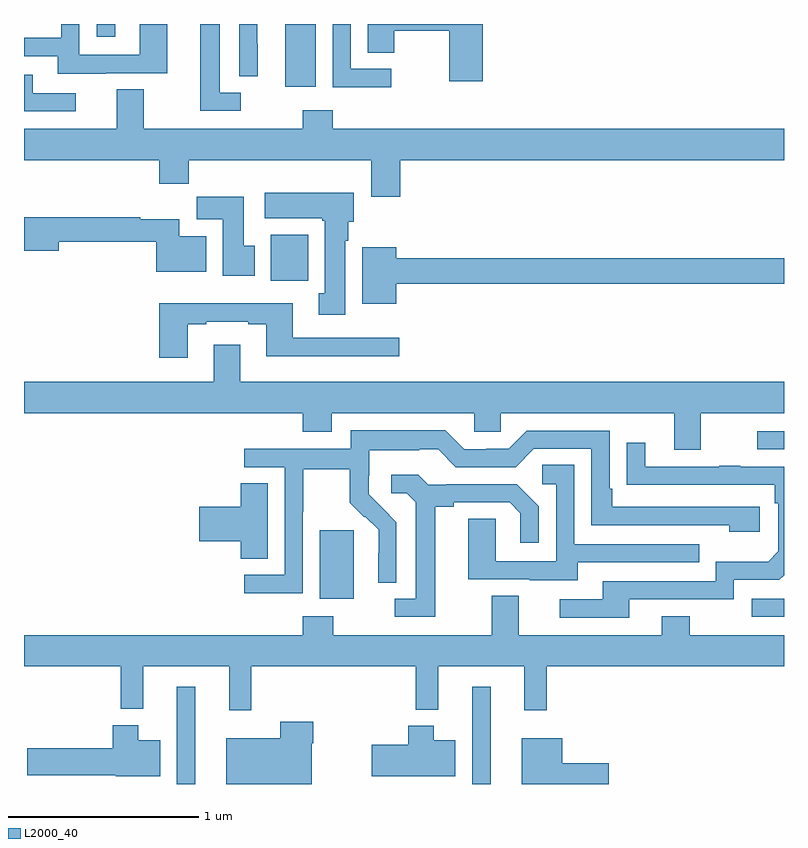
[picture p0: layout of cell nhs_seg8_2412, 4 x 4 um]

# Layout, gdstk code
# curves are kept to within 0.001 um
import gdstk
lib = gdstk.Library(unit=1e-6, precision=1e-09)
def R(c, l, rs):  # rectangles x0, y0, x1, y1
    for r in rs: c.add(gdstk.rectangle(r[:2], r[2:], *l))
def P(c, l, *ps):  # polygons
    for p in ps: c.add(gdstk.Polygon(p, *l))
L2000_40 = (2000, 40)

nhs_seg8_2412 = lib.new_cell('nhs_seg8_2412')
R(nhs_seg8_2412, L2000_40, [(263.805,1095.9,263.902,1096.411), (265.359,1095.9,265.456,1096.411), (266.829,1096.779,267,1096.875), (264.557,1096.874,264.736,1097.235), (266.859,1097.661,267,1097.757), (264.299,1098.548,264.496,1098.79), (264.374,1099.569,264.535,1099.9), (263.382,1099.833,263.479,1099.9)])
P(nhs_seg8_2412, L2000_40, [(265.415,1099.9),(264.809,1099.9),(264.809,1099.75),(264.948,1099.75),(264.948,1099.864),(265.237,1099.864),(265.237,1099.599),(265.415,1099.599)],
  [(263.431,1099.641),(263.755,1099.641),(263.755,1099.9),(263.61,1099.9),(263.61,1099.737),(263.292,1099.737),(263.292,1099.9),(263.196,1099.9),(263.196,1099.827),(263,1099.827),(263,1099.731),(263.177,1099.731),(263.177,1099.637),(263.431,1099.637)],
  [(264.934,1099.665),(264.72,1099.665),(264.72,1099.9),(264.624,1099.9),(264.624,1099.567),(264.934,1099.567)],
  [(264.229,1099.796),(264.227,1099.796),(264.227,1099.9),(264.132,1099.9),(264.132,1099.624),(264.229,1099.624)],
  [(264.142,1099.539),(264.031,1099.539),(264.031,1099.9),(263.927,1099.9),(263.927,1099.443),(264.142,1099.443)],
  [(263.272,1099.536),(263.047,1099.536),(263.047,1099.632),(263,1099.632),(263,1099.44),(263.272,1099.44)],
  [(264.626,1099.447),(264.466,1099.447),(264.466,1099.348),(263.629,1099.348),(263.629,1099.556),(263.489,1099.556),(263.489,1099.348),(263,1099.348),(263,1099.184),(263.711,1099.184),(263.711,1099.06),(263.867,1099.06),(263.867,1099.184),(264.827,1099.184),(264.827,1098.99),(264.98,1098.99),(264.98,1099.184),(267,1099.184),(267,1099.348),(264.626,1099.348)],
  [(264.691,1098.758),(264.706,1098.758),(264.706,1098.858),(264.736,1098.858),(264.736,1099.012),(264.267,1099.012),(264.267,1098.878),(264.571,1098.878),(264.571,1098.865),(264.584,1098.865),(264.584,1098.482),(264.551,1098.482),(264.551,1098.369),(264.691,1098.369)],
  [(264.214,1098.732),(264.157,1098.732),(264.157,1098.991),(263.908,1098.991),(263.908,1098.872),(264.047,1098.872),(264.047,1098.576),(264.214,1098.576)],
  [(263.959,1098.784),(263.818,1098.784),(263.818,1098.872),(263.612,1098.872),(263.612,1098.883),(263,1098.883),(263,1098.707),(263.182,1098.707),(263.182,1098.754),(263.696,1098.754),(263.696,1098.596),(263.959,1098.596)],
  [(264.958,1098.532),(267,1098.532),(267,1098.668),(264.958,1098.668),(264.958,1098.724),(264.779,1098.724),(264.779,1098.428),(264.958,1098.428)],
  [(263.863,1098.321),(263.959,1098.321),(263.959,1098.333),(264.179,1098.333),(264.179,1098.321),(264.275,1098.321),(264.275,1098.152),(264.976,1098.152),(264.976,1098.249),(264.415,1098.249),(264.415,1098.43),(263.711,1098.43),(263.711,1098.144),(263.863,1098.144)],
  [(264.139,1098.211),(263.999,1098.211),(263.999,1098.016),(263,1098.016),(263,1097.852),(264.467,1097.852),(264.467,1097.753),(264.619,1097.753),(264.619,1097.852),(265.371,1097.852),(265.371,1097.754),(265.509,1097.754),(265.509,1097.852),(266.423,1097.852),(266.423,1097.658),(266.563,1097.658),(266.563,1097.852),(267,1097.852),(267,1098.016),(264.139,1098.016)],
  [(264.468,1097.332),(264.471,1097.332),(264.471,1097.556),(264.715,1097.556),(264.715,1097.381),(264.792,1097.304),(264.795,1097.307),(264.866,1097.237),(264.866,1097.114),(264.864,1097.114),(264.864,1096.96),(264.96,1096.96),(264.96,1097.278),(264.814,1097.426),(264.814,1097.523),(264.816,1097.523),(264.816,1097.657),(265.079,1097.657),(265.079,1097.661),(265.179,1097.661),(265.272,1097.568),(265.587,1097.568),(265.683,1097.664),(265.986,1097.664),(265.986,1097.262),(266.711,1097.262),(266.711,1097.228),(266.872,1097.228),(266.872,1097.358),(266.095,1097.358),(266.095,1097.455),(266.082,1097.455),(266.082,1097.76),(265.647,1097.76),(265.551,1097.664),(265.433,1097.664),(265.433,1097.661),(265.317,1097.661),(265.217,1097.761),(264.72,1097.761),(264.72,1097.664),(264.159,1097.664),(264.159,1097.568),(264.372,1097.568),(264.372,1097.001),(264.159,1097.001),(264.159,1096.903),(264.468,1096.903)],
  [(266.185,1096.872),(266.736,1096.872),(266.736,1096.974),(266.976,1096.974),(267,1096.998),(267,1097.571),(266.771,1097.571),(266.771,1097.576),(266.659,1097.576),(266.659,1097.571),(266.269,1097.571),(266.269,1097.695),(266.173,1097.695),(266.173,1097.476),(266.95,1097.475),(266.95,1097.378),(266.97,1097.378),(266.97,1097.124),(266.917,1097.071),(266.64,1097.071),(266.64,1096.968),(266.045,1096.968),(266.045,1096.872),(265.821,1096.872),(265.821,1096.776),(266.185,1096.776)],
  [(265.915,1097.067),(266.555,1097.067),(266.555,1097.163),(265.896,1097.163),(265.896,1097.579),(265.728,1097.579),(265.728,1097.478),(265.8,1097.478),(265.8,1097.073),(265.482,1097.073),(265.482,1097.297),(265.337,1097.297),(265.337,1096.977),(265.661,1096.977),(265.661,1096.973),(265.915,1096.973)],
  [(265.165,1097.36),(265.261,1097.36),(265.261,1097.382),(265.556,1097.382),(265.613,1097.325),(265.613,1097.169),(265.71,1097.169),(265.71,1097.362),(265.594,1097.478),(265.222,1097.478),(265.222,1097.475),(265.128,1097.475),(265.076,1097.527),(264.933,1097.527),(264.933,1097.43),(265.014,1097.43),(265.061,1097.383),(265.061,1096.875),(264.951,1096.875),(264.951,1096.779),(265.165,1096.779)],
  [(264.283,1097.483),(264.14,1097.483),(264.14,1097.36),(263.922,1097.36),(263.922,1097.177),(264.14,1097.177),(264.14,1097.086),(264.283,1097.086)],
  [(264.197,1096.52),(265.063,1096.52),(265.063,1096.292),(265.181,1096.292),(265.181,1096.52),(265.634,1096.52),(265.634,1096.287),(265.751,1096.287),(265.751,1096.52),(267,1096.52),(267,1096.684),(266.505,1096.684),(266.505,1096.783),(266.357,1096.783),(266.357,1096.684),(265.603,1096.684),(265.603,1096.892),(265.463,1096.892),(265.463,1096.684),(264.627,1096.684),(264.627,1096.783),(264.467,1096.783),(264.467,1096.684),(263,1096.684),(263,1096.52),(263.509,1096.52),(263.509,1096.295),(263.627,1096.295),(263.627,1096.52),(264.08,1096.52),(264.08,1096.287),(264.197,1096.287)],
  [(264.514,1096.115),(264.522,1096.115),(264.522,1096.228),(264.349,1096.228),(264.349,1096.141),(264.065,1096.141),(264.065,1095.9),(264.514,1095.9)],
  [(263.716,1096.129),(263.602,1096.129),(263.602,1096.21),(263.468,1096.21),(263.468,1096.089),(263.016,1096.089),(263.016,1095.947),(263.484,1095.947),(263.484,1095.941),(263.716,1095.941)],
  [(265.27,1096.129),(265.156,1096.129),(265.156,1096.207),(265.022,1096.207),(265.022,1096.107),(264.831,1096.107),(264.831,1095.941),(265.27,1095.941)],
  [(266.077,1096.01),(265.834,1096.01),(265.834,1096.141),(265.619,1096.141),(265.619,1095.9),(266.077,1095.9)])

lib.write_gds('nhs_seg8_2412.gds')
